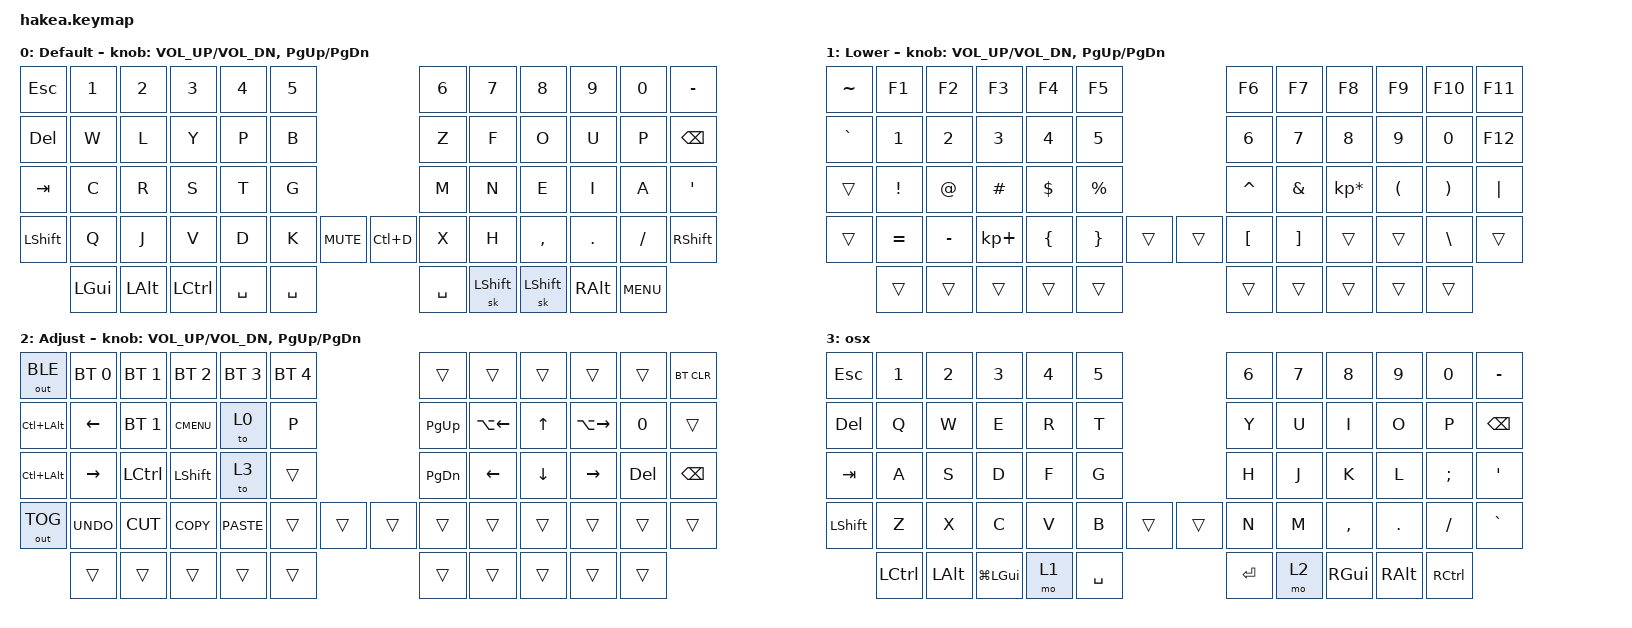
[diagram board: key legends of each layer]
#include <behaviors.dtsi>
#include <dt-bindings/zmk/keys.h>
#include <dt-bindings/zmk/outputs.h>
#include <dt-bindings/zmk/bt.h>
#include "../zmk-nodefree-config/helper.h"
#include "../zmk-nodefree-config/keypos_def/keypos_60keys.h"
#
/*
#   ╭─────────────────────────────┬─────────────────────────────╮
#   │ LN5 LN4 LN3 LN2 LN1 LN0     │     RN0 RN1 RN2 RN3 RN4 RN5 │
#   │ LT5 LT4 LT3 LT2 LT1 LT0     │     RT0 RT1 RT2 RT3 RT4 RT5 │
#   │ LM5 LM4 LM3 LM2 LM1 LM0     │     RM0 RM1 RM2 RM3 RM4 RM5 │
#   │ LB5 LB4 LB3 LB2 LB1 LB0 LEC │ REC RB0 RB1 RB2 RB3 RB4 RB5 │
 #  ╰───────╮ LH4 LH3 LH2 LH1 LH0 │ RH0 RH1 RH2 RH3 RH4 ╭───────╯
 #          ╰─────────────────────┴─────────────────────╯         
 #
*/

ZMK_COMBO(copy,  &kp LG(C),     LB2 LB3, ALL)
ZMK_COMBO(rmev,  &kp BSPC,      RM1 RM2, ALL)
ZMK_COMBO(wbspc, &kp LA(BSPC),  RM2 RM3, ALL)

/ {
    keymap {
        compatible = "zmk,keymap";

        default_layer {
            label = "Default";

            // ------------------------------------------------------------------------------------------------------------
            // |  `    |  1  |  2  |  3   |  4   |  5   |                   |  6   |  7    |  8    |  9   |   0   |       |
            // |  ESC  |  Q  |  W  |  E   |  R   |  T   |                   |  Y   |  U    |  I    |  O   |   P   | BKSPC |
            // |  TAB  |  A  |  S  |  D   |  F   |  G   |                   |  H   |  J    |  K    |  L   |   ;   |   '   |
            // | SHIFT |  Z  |  X  |  C   |  V   |  B   |  MUTE  |  |       |  N   |  M    |  ,    |  .   |   /   | SHIFT |
            //               | GUI | ALT  | CTRL | LOWER|  ENTER |  | SPACE | RAISE| CTRL  | ALT   | GUI  |

            bindings = <
  &kp ESC    &kp N1    &kp N2     &kp N3  &kp N4     &kp N5                         &kp N6     &kp N7      &kp N8      &kp N9     &kp N0  &kp MINUS
  &kp DEL     &kp W     &kp L      &kp Y   &kp P      &kp B                          &kp Z      &kp F      &kp O       &kp U      &kp P   &kp BSPC
  &kp TAB     &kp C     &kp R      &kp S   &kp T      &kp G                          &kp M      &kp N      &kp E       &kp I   &kp A    &kp SQT
  &kp LSHFT   &kp Q     &kp J      &kp V   &kp D      &kp K  &kp C_MUTE  &kp LC(D)   &kp X      &kp H      &kp COMMA     &kp DOT  &kp SLASH  &kp RSHFT
              &kp LGUI  &kp LALT  &kp LCTRL   &kp SPACE  &kp SPACE                   &kp SPACE  &sk LSHFT  &sk LSHFT    &kp RALT  &kp K_MENU
            >;

            sensor-bindings = <&inc_dec_kp C_VOL_UP C_VOL_DN &inc_dec_kp PG_UP PG_DN>;
        };

        lower_layer {
            label = "Lower";

            // TODO: Some binds are waiting for shifted keycode support.
            // ------------------------------------------------------------------------------------------------------------
            // |       |  F1 |  F2 |  F3  |  F4  |  F5  |                   |  F6  |  F7   |  F8   |  F9  |  F10  |  F11  |
            // | `     |   1 |   2 |   3  |   4  |   5  |                   |   6  |   7   |   8   |   9  |    0  |  F12  |
            // |       |  !  |  @  |  #   |  $   |  %   |                   |  ^   |  &    |  *    |  (   |   )   |   |   |
            // |   0(    |  = | |  - c |  + c  |  { =  |  } -  |        |  |       |  [   |  ]    |  ;    |  :   |   \   |       |
            //               |     |      |      |      |        |  |       |      |       |       |      |

            bindings = <
&kp TILDE     &kp F1     &kp F2       &kp F3    &kp F4     &kp F5                            &kp F6             &kp F7           &kp F8    &kp F9        &kp F10   &kp F11
&kp GRAVE     &kp N1     &kp N2       &kp N3    &kp N4     &kp N5                            &kp N6             &kp N7           &kp N8    &kp N9         &kp N0   &kp F12
   &trans   &kp EXCL     &kp AT     &kp HASH  &kp DLLR  &kp PRCNT                         &kp CARET           &kp AMPS  &kp KP_MULTIPLY  &kp LPAR       &kp RPAR  &kp PIPE
   &trans  &kp EQUAL  &kp MINUS  &kp KP_PLUS  &kp LBRC   &kp RBRC  &trans  &trans  &kp LEFT_BRACKET  &kp RIGHT_BRACKET           &trans    &trans  &kp BACKSLASH    &trans
              &trans     &trans       &trans    &trans     &trans  &trans                    &trans             &trans           &trans    &trans
            >;

            sensor-bindings = <&inc_dec_kp C_VOL_UP C_VOL_DN &inc_dec_kp PG_UP PG_DN>;
        };

        raise_layer {
            label = "Adjust";

            // ------------------------------------------------------------------------------------------------------------
            // |BTCLR| BT1  | BT2  |  BT3  |  BT4  |  BT5 |                |      |      |       |      |       |       |
            // |     | INS  | PSCR | GUI   |       |      |                | PGUP | NW   |   ^   |  PW  |       |       |
            // |     | ALT  | CTRL | SHIFT |       | CAPS |                | PGDN |   <- |   v   |  ->  |  DEL  | BKSPC |
            // |     | UNDO | CUT  | COPY  | PASTE |      |      |  |      |      |      |       |      |       |       |
            //              |      |       |       |      |      |  |      |      |      |       |      |

            bindings = <
&out OUT_BLE  &bt BT_SEL 0  &bt BT_SEL 1  &bt BT_SEL 2  &bt BT_SEL 3  &bt BT_SEL 4                     &trans        &trans    &trans         &trans   &trans  &bt BT_CLR
&kp LC(LALT)      &kp LEFT  &bt BT_SEL 1   &kp K_CMENU         &to 0        &kp P                  &kp PG_UP  &kp LA(LEFT)    &kp UP  &kp LA(RIGHT)   &kp N0      &trans
&kp LC(LALT)     &kp RIGHT     &kp LCTRL     &kp LSHFT         &to 3        &trans                  &kp PG_DN      &kp LEFT  &kp DOWN      &kp RIGHT  &kp DEL    &kp BSPC
&out OUT_TOG    &kp K_UNDO     &kp K_CUT    &kp K_COPY   &kp K_PASTE        &trans  &trans  &trans     &trans        &trans    &trans         &trans   &trans      &trans
                    &trans        &trans        &trans        &trans        &trans  &trans             &trans        &trans    &trans         &trans
            >;

            sensor-bindings = <&inc_dec_kp C_VOL_UP C_VOL_DN &inc_dec_kp PG_UP PG_DN>;
        };

        OSX {
            label = "osx";
            bindings = <
  &kp ESC     &kp N1    &kp N2        &kp N3  &kp N4     &kp N5                   &kp N6         &kp N7     &kp N8     &kp N9    &kp N0  &kp MINUS
  &kp DEL      &kp Q     &kp W         &kp E   &kp R      &kp T                    &kp Y          &kp U      &kp I      &kp O     &kp P   &kp BSPC
  &kp TAB      &kp A     &kp S         &kp D   &kp F      &kp G                    &kp H          &kp J      &kp K      &kp L  &kp SEMI    &kp SQT
&kp LSHFT      &kp Z     &kp X         &kp C   &kp V      &kp B   &trans  &trans   &kp N          &kp M  &kp COMMA    &kp DOT  &kp FSLH  &kp GRAVE
           &kp LCTRL  &kp LALT  &kp LG(LGUI)   &mo 1  &kp SPACE  &kp RET           &mo 2  &kp RIGHT_GUI   &kp RALT  &kp RCTRL
            >;
        };
    };
};
